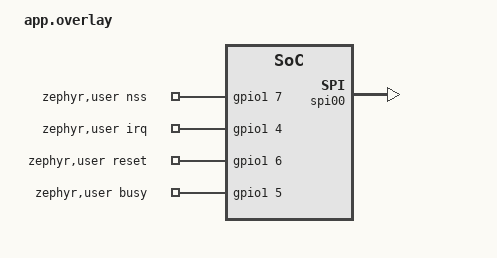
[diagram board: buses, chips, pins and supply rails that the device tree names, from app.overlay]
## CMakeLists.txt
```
# lr2021_serial: a LoRa modem on the Seeed XIAO nRF54L15 + Wio-LR2021
# (Semtech LR2021 EVK) that a Linux host drives over the board's console UART.
# RadioLib's LR2021 driver in generic (non-Arduino) mode does all the radio
# work; see README.md for the line protocol and SerialRadio.cpp for the
# consumer.
cmake_minimum_required(VERSION 3.20.0)
find_package(Zephyr REQUIRED HINTS $ENV{ZEPHYR_BASE})
project(lr2021_serial)

# RadioLib checkout (the commit MeshCore's platformio.ini pins is known good
# for the LR2021; anything >= 7.7 with setSideDetector() should do).
if(DEFINED ENV{RADIOLIB_DIR})
  set(RADIOLIB_DIR $ENV{RADIOLIB_DIR})
else()
  set(RADIOLIB_DIR $ENV{HOME}/RadioLib)
endif()
set(RADIOLIB_SRC ${RADIOLIB_DIR}/src)
if(NOT EXISTS ${RADIOLIB_SRC}/RadioLib.h)
  message(FATAL_ERROR "RadioLib not found at ${RADIOLIB_DIR} (set RADIOLIB_DIR)")
endif()

file(GLOB_RECURSE RL_SOURCES ${RADIOLIB_SRC}/*.cpp)
list(FILTER RL_SOURCES EXCLUDE REGEX "/hal/")   # generic HAL only; ours is in src/

target_sources(app PRIVATE src/main.cpp ${RL_SOURCES})
target_include_directories(app PRIVATE src ${RADIOLIB_SRC})
# GODMODE exposes setLoRaPacketParams(), needed to re-assert the RX max
# length after a transmit (the chip keeps the last TX length otherwise and
# clips longer incoming packets - found during MeshCore's LR2021 bring-up).
target_compile_definitions(app PRIVATE RADIOLIB_GODMODE=1 RADIOLIB_LOW_LEVEL=1)
option(LR2021_STOCK_PA_TABLE "Use RadioLib's built-in PA table instead of Semtech's Wio-LR2021 one (for A/B tests)" OFF)
if(LR2021_STOCK_PA_TABLE)
  target_compile_definitions(app PRIVATE LR2021_STOCK_PA_TABLE=1)
endif()
target_compile_options(app PRIVATE -Wno-unused-parameter)
```

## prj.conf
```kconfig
CONFIG_GPIO=y
CONFIG_SPI=y
CONFIG_SERIAL=y
CONFIG_UART_INTERRUPT_DRIVEN=y
CONFIG_CONSOLE=y
CONFIG_UART_CONSOLE=y
CONFIG_PRINTK=y
CONFIG_CBPRINTF_FP_SUPPORT=y
CONFIG_LOG=n

CONFIG_CPP=y
CONFIG_STD_CPP17=y
CONFIG_CPP_EXCEPTIONS=n
CONFIG_FPU=y
CONFIG_REBOOT=y
CONFIG_MAIN_STACK_SIZE=8192
CONFIG_HEAP_MEM_POOL_SIZE=8192
```

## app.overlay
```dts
/*
 * Wio-LR2021 on the XIAO nRF54L15 (Semtech LR2021 EVK). Pin map from Semtech's
 * usp_zephyr shield (semtech_wio_lr20xx_common.dtsi) and the MeshCore
 * xiao_nrf54l15 variant:
 *   SPI   spi00 (xiao_spi): SCK = P2.01 (D8), MOSI = P2.02 (D10), MISO = P2.04 (D9)
 *   NSS   P1.07 (D3)   IRQ = LR2021 DIO8 -> P1.04 (D0)
 *   RESET P1.06 (D2)   BUSY = P1.05 (D1)
 * The module is switchless (no RF-switch DIOs) and runs on a 32 MHz crystal.
 * RadioLib toggles NSS itself, so the SPI controller is used without a HW CS.
 * Console = uart20 -> the SAMD11 debug bridge -> USB CDC on the host.
 */
&spi00 {
	status = "okay";
};

/ {
	zephyr,user {
		nss-gpios   = <&gpio1 7 0>;
		irq-gpios   = <&gpio1 4 0>;
		reset-gpios = <&gpio1 6 0>;
		busy-gpios  = <&gpio1 5 0>;
	};
};
```

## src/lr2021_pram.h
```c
/*!
 * @file      lr20xx_pram_load.c
 *
 * @brief     Implementation of patch RAM loading commands for LR20XX
 *
 * The Clear BSD License
 * Copyright Semtech Corporation 2026. All rights reserved.
 *
 * Redistribution and use in source and binary forms, with or without
 * modification, are permitted (subject to the limitations in the disclaimer
 * below) provided that the following conditions are met:
 *     * Redistributions of source code must retain the above copyright
 *       notice, this list of conditions and the following disclaimer.
 *     * Redistributions in binary form must reproduce the above copyright
 *       notice, this list of conditions and the following disclaimer in the
 *       documentation and/or other materials provided with the distribution.
 *     * Neither the name of the Semtech corporation nor the
 *       names of its contributors may be used to endorse or promote products
 *       derived from this software without specific prior written permission.
 *
 * NO EXPRESS OR IMPLIED LICENSES TO ANY PARTY'S PATENT RIGHTS ARE GRANTED BY
 * THIS LICENSE. THIS SOFTWARE IS PROVIDED BY THE COPYRIGHT HOLDERS AND
 * CONTRIBUTORS "AS IS" AND ANY EXPRESS OR IMPLIED WARRANTIES, INCLUDING, BUT
 * NOT LIMITED TO, THE IMPLIED WARRANTIES OF MERCHANTABILITY AND FITNESS FOR A
 * PARTICULAR PURPOSE ARE DISCLAIMED. IN NO EVENT SHALL SEMTECH CORPORATION BE
 * LIABLE FOR ANY DIRECT, INDIRECT, INCIDENTAL, SPECIAL, EXEMPLARY, OR
 * CONSEQUENTIAL DAMAGES (INCLUDING, BUT NOT LIMITED TO, PROCUREMENT OF
 * SUBSTITUTE GOODS OR SERVICES; LOSS OF USE, DATA, OR PROFITS; OR BUSINESS
 * INTERRUPTION) HOWEVER CAUSED AND ON ANY THEORY OF LIABILITY, WHETHER IN
 * CONTRACT, STRICT LIABILITY, OR TORT (INCLUDING NEGLIGENCE OR OTHERWISE)
 * ARISING IN ANY WAY OUT OF THE USE OF THIS SOFTWARE, EVEN IF ADVISED OF THE
 * POSSIBILITY OF SUCH DAMAGE.
 */
/*
 * LR2021 firmware patch RAM (PRAM) image: the pram_lr2021 array from Semtech's
 * LR20xx driver (lr20xx_pram_lr2021.h, license above), plus a loader on top of
 * RadioLib. Datasheet 22.3: "using the chip without the PRAM can create
 * performance issues and unexpected bugs. The use of the PRAM is therefore
 * highly recommended." It is lost on every reset, so load it after begin().
 */
#pragma once
#include <RadioLib.h>

static const uint32_t lr2021_pram[560] = {
  0x600db002, 0x00031304, 0x0010104c, 0x00101018, 0x00000000, 0x00000000, 0x40c3c0f1, 0x00088000,
  0x0000212a, 0x0ff82184, 0x212bb986, 0x40c30000, 0x09680080, 0x1800d981, 0xb90d0041, 0x008040c3,
  0x794077f8, 0x7fe0c0d1, 0x78e0720c, 0x45cbc2e4, 0x77f80080, 0x10011d00, 0x41c358bf, 0x18c00010,
  0x008046cb, 0xe81a0968, 0x0f80212b, 0x02900000, 0x70148600, 0x41c3f2ac, 0x00088000, 0x0040202a,
  0x0ff82084, 0x202bb886, 0xd9810040, 0x40a1b90d, 0x1e007960, 0xf09c1041, 0x852f0b0e, 0x0307208a,
  0x0146208a, 0x001041c3, 0x0be2134c, 0x1e00856f, 0x41c31001, 0x120c0010, 0x856f0bd2, 0x41c3d83d,
  0x11d80010, 0x856f0bc6, 0x41c3d835, 0x13940010, 0x856f0bba, 0x0786208a, 0x001041c3, 0x0bae13b4,
  0x208a856f, 0x41c30846, 0x14580010, 0x856f0b9e, 0x41c3d848, 0x143c0010, 0x856f0b92, 0x41c3d847,
  0x14240010, 0x856f0b86, 0x41c3d845, 0x15840010, 0x856f0b7a, 0x41c3d8e0, 0x15580010, 0x856f0b6e,
  0x41c3d8dc, 0x16080010, 0x856f0b62, 0x0304208a, 0x001041c3, 0x0b5615d0, 0x208a856f, 0x41c302c4,
  0x16680010, 0x856f0b46, 0x04c4208a, 0x001041c3, 0x0b3a1640, 0x208a856f, 0x41c30484, 0x13740010,
  0x856f0b2a, 0x0186208a, 0x001041c3, 0x0b1e1470, 0xd882856f, 0x001041c3, 0x0b121690, 0x208a856f,
  0x41c30504, 0x184c0010, 0x856f0b02, 0x0087208a, 0x001041c3, 0x0af617f0, 0x208a856f, 0x41c30cc6,
  0x18040010, 0x856f0ae6, 0x0dc6208a, 0x001041c3, 0x0ada15ac, 0xd8f6856f, 0x001040c3, 0x80401000,
  0x40c38021, 0x0ff80080, 0xa021a040, 0x0000090a, 0x00000cf6, 0xc6c4720c, 0x47cbc2e6, 0x020000f4,
  0xb98dd9f0, 0x87c07960, 0x87004508, 0x120126ad, 0x10710e0d, 0x020120ad, 0x0095080d, 0x10940e0d,
  0x00510809, 0x000008d2, 0xc6c640a1, 0x1cfcc2e6, 0xc1a1b6c8, 0x008044cb, 0x84800968, 0x46484768,
  0x43184528, 0x40c3ec0f, 0x77f80080, 0xec0b8080, 0x41a14063, 0x7c6042c1, 0x208c43e1, 0xc0408fc3,
  0x238cf443, 0xf227b7c2, 0xb2c1238c, 0x238cf229, 0xf22db682, 0x30310b63, 0x16004063, 0x00807080,
  0x7514600b, 0xc040700c, 0x710cf22f, 0x11340d5b, 0x40c1c040, 0x45cb5839, 0x60500080, 0x734c712c,
  0x5981a520, 0x10011d00, 0x084ee89f, 0x720c0000, 0x40a1f01a, 0x0c4641c1, 0x42e10020, 0x40a1f014,
  0x09ee41c1, 0x42e10020, 0x40a1f00e, 0x0a4a41c1, 0x42e10020, 0x44cbf008, 0x24e00000, 0x42c141a1,
  0x43e17c60, 0xc000c040, 0x7487780f, 0x341b1404, 0x78e0c6c6, 0x42c3c2e2, 0x002400f2, 0x008040c3,
  0x88000773, 0x00710811, 0x250582a0, 0x00f01f80, 0xf0270000, 0x00f441c3, 0x81000200, 0x001c2084,
  0x8004208c, 0x43c3f405, 0xcccc0044, 0x43c3f004, 0xcccc002c, 0x008044cb, 0xa460004c, 0x80001144,
  0x2d0070d3, 0x25040000, 0xff0f1f80, 0xf788ffff, 0x797db894, 0xb897b896, 0xf003a420, 0xa200b897,
  0x70001600, 0x014400f4, 0xc6c25852, 0x1600c2e2, 0x0080708d, 0x42c30773, 0xfdc00000, 0x16007a40,
  0x00807081, 0x75300773, 0xffe20f6c, 0x40a14508, 0x78e0c6c2, 0x003e0817, 0x40c34408, 0x09680080,
  0xb8028800, 0x204f7885, 0x788f004c, 0x000044cb, 0x7c00feb0, 0x008041c3, 0x89200773, 0x42c3e987,
  0x002400f2, 0xb9ad8220, 0x41c3a220, 0x101c0001, 0x78e07900, 0x40c3c0f1, 0x13b00001, 0x40c37840,
  0x002400f2, 0xb98d8020, 0x7fe0c0d1, 0x0000a020, 0x70811600, 0x02a10080, 0x0837690a, 0x713400b5,
  0x00f341c3, 0x81000c14, 0x02822150, 0x0180206c, 0x0f012085, 0x8105a100, 0x07f02084, 0x000f2085,
  0x8200a105, 0x01c0206c, 0x7fe0b880, 0x7de0a200, 0x00f340c3, 0x80200814, 0xb993b9d2, 0xb995b994,
  0xa0207fe0, 0x40c3c0f1, 0x269c0000, 0x0fa67840, 0x4300ffef, 0x7fe0c0d1, 0x78e04060, 0xc1a1c3e2,
  0x45cbc404, 0x27500000, 0xc4407d60, 0xffef0f86, 0x40604300, 0x78e0c7c2, 0x42c3c0f1, 0x27b80000,
  0x0f727a40, 0x4300ffef, 0x7fe0c0d1, 0x78e04060, 0x43c3c0f1, 0x4f280000, 0x42c37b40, 0x0d2400f3,
  0xb9dd8220, 0x7fe0c0d1, 0x78e0a220, 0x0872c2e4, 0x454881ef, 0x88418521, 0x8840a940, 0xa9418521,
  0x90218541, 0xaa22793d, 0x85618824, 0x008042c3, 0x793d77fc, 0x8824ab23, 0x88058862, 0x004c2144,
  0xb8046b32, 0x01032144, 0x204485c1, 0x23050c01, 0x78250300, 0x8240ae04, 0x2a418501, 0xa8250401,
  0x02012a41, 0xa8268501, 0xa8478501, 0x1d00730c, 0xc6c41201, 0x0cdec2e4, 0x4548802f, 0x85014608,
  0xa8208e29, 0x85018e28, 0x8521a821, 0x781d9605, 0x9606a902, 0x781d8521, 0x886f0d06, 0x8521a903,
  0x9606a904, 0x20449625, 0x69120042, 0x20448521, 0x78450100, 0x8e12a905, 0xa9068521, 0x40c38561,
  0x78080080, 0x11c11d00, 0x8b458800, 0x79456833, 0xab25730c, 0x78e0c6c4, 0x0fd2c2e2, 0x4508838f,
  0x000040c3, 0x78408db8, 0x00f340c3, 0x80200b74, 0x04012184, 0x0411090f, 0x08ba8001, 0x780f836f,
  0xc6c2ad08, 0x43c3c2e2, 0x8eb80000, 0x45087b60, 0x00f344cb, 0x84600b50, 0x10022578, 0x2304ba18,
  0xf8ff0f81, 0x7945ffff, 0xc6c2a420, 0x45cbc2e4, 0x014400f4, 0x000040c3, 0x78609fec, 0x850085c0,
  0x781178c2, 0x00a070d3, 0x0d0c0001, 0xc6c4ffc6, 0x41c3c2e2, 0xa9680000, 0x082b7940, 0x45080131,
  0x820f0aee, 0x0111081f, 0x00f442c3, 0x82200144, 0x008040c3, 0x18007800, 0xa0210041, 0x0180216c,
  0x40a1a200, 0x78e0c6c2, 0x41c3c2e2, 0xaad40000, 0x082b7940, 0x45080171, 0x820f0ab6, 0x0111081f,
  0x00f442c3, 0x82200144, 0x008040c3, 0x18007800, 0xa0210041, 0x0180216c, 0x40a1a200, 0x78e0c6c2,
  0x40c3c0f1, 0xb15c0000, 0x42c37840, 0x78000080, 0xe9098220, 0x1a008221, 0x1e000001, 0x00f47040,
  0xc0d10144, 0x78e07ee0, 0x40c3c0f1, 0xb2b00000, 0x42c37840, 0x78000080, 0xe9098220, 0x1a008221,
  0x1e000001, 0x00f47040, 0xc0d10144, 0x78e07ee0, 0x41c3c2e2, 0xb3dc0000, 0x0a367940, 0x0827820f,
  0x16000151, 0x00f37000, 0x45cb0d3c, 0x77fc0080, 0x0b0ab854, 0xa500802f, 0x85008030, 0xb94c790c,
  0xc6c2a520, 0x008041c3, 0x40c37800, 0x00003930, 0x00011900, 0xa1017fe0, 0x1cfcc2e6, 0xc1a3b6c8,
  0x085b4528, 0x716f01b4, 0x8d838d05, 0x8d648dc0, 0x8d428d21, 0x008f206d, 0xc041b8c0, 0x12002c40,
  0x40c17b05, 0x0dbec742, 0x1c0082af, 0x26053081, 0xf415903e, 0x42c38d05, 0x083000f3, 0x78128220,
  0xb9b9b818, 0x800212fc, 0x0f802004, 0x00000200, 0x0b826038, 0x4100862f, 0x4063726f, 0x1404c0a3,
  0xc6c6341b, 0x0a76c2e6, 0x1048800f, 0x08a30080, 0x244a0071, 0x41c37200, 0x6faa00b1, 0x00f342c3,
  0x40c30c18, 0x6faa004e, 0x00501a04, 0x59c343c3, 0x1a04ae57, 0x22500010, 0x1a040281, 0x820000d0,
  0xff7d44cb, 0x43c3d5f7, 0x7f5dff7d, 0x0f802004, 0xfffc07ff, 0x0f802005, 0x0001f800, 0xa180a200,
  0x8102a161, 0x9f4643c3, 0x206c0012, 0xb8850180, 0xa261a102, 0x800012f0, 0x43c370ad, 0x18b00010,
  0x0180206c, 0x2045bd93, 0x23400300, 0x41a1020c, 0x10cf2d41, 0x80001af0, 0x02c020a8, 0x14c01401,
  0x04ce1301, 0xbe087825, 0x78c561f9, 0xc6c6a206, 0x40c3c0f1, 0x1ac00001, 0x0f4e7840, 0xc0d1ffcf,
  0x78e07ee0, 0xc1a5c3e6, 0xc00a4608, 0x4328c40c, 0xc50bc10e, 0xc040c70d, 0x9fc3248c, 0x20ca4081,
  0xe68b0321, 0xc541c144, 0x100124ca, 0x000145cb, 0x40c11e7c, 0xc7434161, 0xc4427d60, 0xe68a4508,
  0xffef0f06, 0x106125ca, 0xc7c640a1, 0x41c3c0f1, 0x60c90080, 0x1e008900, 0x00807002, 0x11ff0584,
  0x40c38081, 0x78080080, 0x0b76a020, 0x730c84ef, 0x884f0c0a, 0x7ee0c0d1, 0x02494e49, 0x001018c0,
  0xfffff8d0, 0x00800968, 0xfffff970, 0x008077f8, 0x00000014, 0x00000000, 0x00000000, 0x00000000,
  0x00000000, 0x00000000, 0x00000000, 0x00000000, 0xf7e41c09, 0x1f20201f, 0xe10f0fe1, 0xf9fffff9,
};

// Load + activate the PRAM if it is not already resident (datasheet 22.3.1/2).
// Returns the RadioLib status; *version receives the PRAM version when loaded.
static inline int16_t lr2021_load_pram(LR2021& radio, uint16_t* version) {
  bool loaded = false;
  int16_t st = radio.checkPramLoaded(&loaded);
  if (st != RADIOLIB_ERR_NONE) return st;
  if (!loaded) {
    const uint32_t n = sizeof(lr2021_pram) / sizeof(lr2021_pram[0]);
    for (uint32_t i = 0; i < n; i += 32) {                 // 32-word blocks, like Semtech's loader
      uint32_t len = (n - i) < 32 ? (n - i) : 32;
      st = radio.writeRegMem32(0x801000 + i * 4, &lr2021_pram[i], len);
      if (st != RADIOLIB_ERR_NONE) return st;
    }
    st = radio.activatePram();
    if (st != RADIOLIB_ERR_NONE) return st;
    st = radio.checkPramLoaded(&loaded);
    if (st != RADIOLIB_ERR_NONE) return st;
    if (!loaded) return RADIOLIB_ERR_UNKNOWN;
  }
  return version ? radio.getPramVersion(version) : RADIOLIB_ERR_NONE;
}
```

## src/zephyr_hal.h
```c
/*
 * RadioLibHal for Zephyr: the four LR2021 control pins come from the
 * `zephyr,user` devicetree node, SPI from spi00. Raw GPIO ops keep RadioLib's
 * LOW/HIGH equal to physical levels, as on Arduino. Adapted from the
 * xiao_nrf54l15 companion port proposed to MeshCore (CampusIoT, PR #2944).
 *
 * Opaque pin ids handed to Module(hal, cs, irq, rst, gpio): NSS=0 IRQ=1 RESET=2 BUSY=3.
 */
#pragma once
#include <zephyr/kernel.h>
#include <zephyr/drivers/gpio.h>
#include <zephyr/drivers/spi.h>
#include <RadioLib.h>

#define LR_PIN_NSS   0
#define LR_PIN_IRQ   1
#define LR_PIN_RESET 2
#define LR_PIN_BUSY  3
#define LR_PIN_COUNT 4

class ZephyrHal : public RadioLibHal {
public:
  ZephyrHal()
    : RadioLibHal(/*INPUT*/0, /*OUTPUT*/1, /*LOW*/0, /*HIGH*/1, /*RISING*/1, /*FALLING*/2) {}

  void init() override { spiBegin(); }
  void term() override {}

  void pinMode(uint32_t pin, uint32_t mode) override {
    if (pin >= LR_PIN_COUNT) return;
    const gpio_dt_spec* g = &gpios[pin];
    gpio_pin_configure(g->port, g->pin, (mode == 1) ? GPIO_OUTPUT : GPIO_INPUT);
  }
  void digitalWrite(uint32_t pin, uint32_t value) override {
    if (pin >= LR_PIN_COUNT) return;
    const gpio_dt_spec* g = &gpios[pin];
    gpio_pin_set_raw(g->port, g->pin, value ? 1 : 0);
  }
  uint32_t digitalRead(uint32_t pin) override {
    if (pin >= LR_PIN_COUNT) return 0;
    const gpio_dt_spec* g = &gpios[pin];
    return gpio_pin_get_raw(g->port, g->pin);
  }

  void attachInterrupt(uint32_t pin, void (*cb)(void), uint32_t mode) override {
    if (pin >= LR_PIN_COUNT) return;
    const gpio_dt_spec* g = &gpios[pin];
    user_cb = cb;
    gpio_pin_configure(g->port, g->pin, GPIO_INPUT);
    if (!cb_added) {
      gpio_init_callback(&cb_data, gpioIsr, BIT(g->pin));
      gpio_add_callback(g->port, &cb_data);
      cb_added = true;
    }
    gpio_pin_interrupt_configure(g->port, g->pin,
        (mode == 2) ? GPIO_INT_EDGE_FALLING :
        (mode == 1) ? GPIO_INT_EDGE_RISING  : GPIO_INT_EDGE_BOTH);
  }
  void detachInterrupt(uint32_t pin) override {
    if (pin >= LR_PIN_COUNT) return;
    const gpio_dt_spec* g = &gpios[pin];
    gpio_pin_interrupt_configure(g->port, g->pin, GPIO_INT_DISABLE);
    user_cb = nullptr;
  }

  void delay(RadioLibTime_t ms) override { k_msleep((int32_t)ms); }
  void delayMicroseconds(RadioLibTime_t us) override { k_busy_wait((uint32_t)us); }
  RadioLibTime_t millis() override { return (RadioLibTime_t)k_uptime_get(); }
  RadioLibTime_t micros() override { return (RadioLibTime_t)k_ticks_to_us_floor64(k_uptime_ticks()); }
  long pulseIn(uint32_t, uint32_t, RadioLibTime_t) override { return 0; }

  void spiBegin() override {
    spi_dev = DEVICE_DT_GET(DT_NODELABEL(spi00));
    spi_cfg.frequency = 8000000;      // LR2021 SPI max is 16 MHz, mode 0, MSB first
#ifdef SPI_OP_MODE_CONTROLLER
    spi_cfg.operation = SPI_OP_MODE_CONTROLLER | SPI_WORD_SET(8) | SPI_TRANSFER_MSB;
    spi_cfg.peripheral = 0;
#else
    spi_cfg.operation = SPI_OP_MODE_MASTER | SPI_WORD_SET(8) | SPI_TRANSFER_MSB;
    spi_cfg.slave = 0;
#endif
    spi_cfg.cs.gpio.port = NULL;      // RadioLib drives NSS
  }
  void spiBeginTransaction() override {}
  void spiEndTransaction() override {}
  void spiEnd() override {}

  void spiTransfer(uint8_t* out, size_t len, uint8_t* in) override {
    spi_buf txb = { .buf = out, .len = len };
    spi_buf rxb = { .buf = in,  .len = len };
    spi_buf_set tx = { .buffers = &txb, .count = 1 };
    spi_buf_set rx = { .buffers = &rxb, .count = 1 };
    spi_transceive(spi_dev, &spi_cfg, out ? &tx : NULL, in ? &rx : NULL);
  }

private:
  static void (*user_cb)(void);
  static gpio_callback cb_data;
  static bool cb_added;
  static void gpioIsr(const device*, gpio_callback*, uint32_t) { if (user_cb) user_cb(); }

  const device* spi_dev = nullptr;
  spi_config spi_cfg = {};

  const gpio_dt_spec gpios[LR_PIN_COUNT] = {   // index = LR_PIN_*
    GPIO_DT_SPEC_GET(DT_PATH(zephyr_user), nss_gpios),
    GPIO_DT_SPEC_GET(DT_PATH(zephyr_user), irq_gpios),
    GPIO_DT_SPEC_GET(DT_PATH(zephyr_user), reset_gpios),
    GPIO_DT_SPEC_GET(DT_PATH(zephyr_user), busy_gpios),
  };
};

inline void (*ZephyrHal::user_cb)(void) = nullptr;
inline gpio_callback ZephyrHal::cb_data;
inline bool ZephyrHal::cb_added = false;
```
